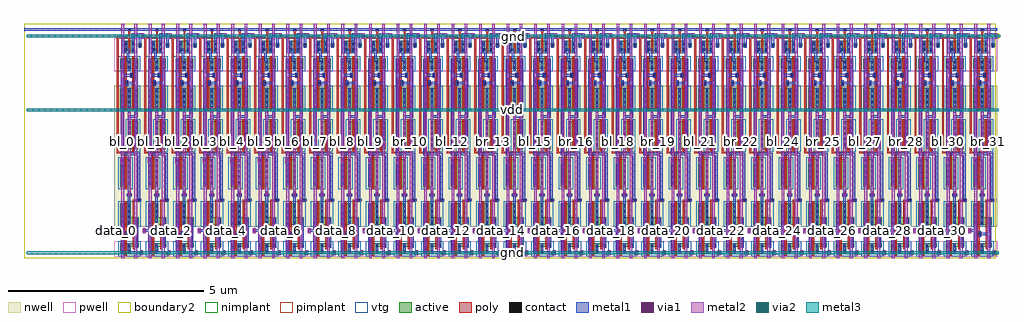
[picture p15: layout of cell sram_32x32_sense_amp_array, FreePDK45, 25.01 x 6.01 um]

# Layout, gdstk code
import gdstk
lib = gdstk.Library(unit=1e-6, precision=5e-10)
def R(c, l, rs):  # rectangles x0, y0, x1, y1
    for r in rs: c.add(gdstk.rectangle(r[:2], r[2:], *l))
def A(c, l, x, y, w, h, nx, ny, dx, dy):  # array of equal rectangles
    R(c, l, [(x+i*dx, y+j*dy, x+i*dx+w, y+j*dy+h) for i in range(nx) for j in range(ny)])
def P(c, l, *ps):  # polygons
    for p in ps: c.add(gdstk.Polygon(p, *l))
active = (1, 0)
pwell = (2, 0)
nwell = (3, 0)
nimplant = (4, 0)
pimplant = (5, 0)
vtg = (6, 0)
poly = (9, 0)
contact = (10, 0)
metal1 = (11, 0)
via1 = (12, 0)
metal2 = (13, 0)
via2 = (14, 0)
metal3 = (15, 0)
boundary2 = (239, 0)

sense_amp = lib.new_cell('sense_amp')
R(sense_amp, active, [(0.595,0.095,0.685,0.185), (0.3075,1.58,0.3975,1.67), (0.1275,1.82,0.3875,2.54), (0.1275,1.82,0.2025,2.54), (0.1275,1.82,0.2025,2.54), (0.3125,1.82,0.3875,2.54), (0.3125,1.82,0.3875,2.54), (0.1275,1.905,0.2025,2.54), (0.3125,1.905,0.3875,2.54), (0.3175,2.79,0.5775,3.51), (0.3175,2.79,0.3925,3.51), (0.3175,2.79,0.3925,3.51), (0.5025,2.79,0.5775,3.51), (0.5025,2.79,0.5775,3.51), (0.3175,2.875,0.3925,3.51), (0.5025,2.875,0.5775,3.51), (0.1275,3.8275,0.2025,4.3225), (0.1275,3.8275,0.3875,4.3675), (0.1275,3.8275,0.2025,4.3675), (0.1275,3.8275,0.2025,4.3675), (0.3125,3.8275,0.3875,4.3225), (0.3125,3.8275,0.3875,4.3675), (0.3125,3.8275,0.3875,4.3675), (0.3175,3.8275,0.3925,4.3225), (0.3175,3.8275,0.5775,4.3675), (0.3175,3.8275,0.3925,4.3675), (0.3175,3.8275,0.3925,4.3675), (0.5025,3.8275,0.5775,4.3225), (0.5025,3.8275,0.5775,4.3675), (0.5025,3.8275,0.5775,4.3675), (0.1275,4.8525,0.2025,5.0675), (0.1275,4.8525,0.3875,5.1225), (0.1275,4.8525,0.2025,5.1225), (0.1275,4.8525,0.2025,5.1225), (0.3125,4.8525,0.3875,5.0675), (0.3125,4.8525,0.3875,5.1225), (0.3125,4.8525,0.3875,5.1225), (0.3175,4.8525,0.3925,5.0675), (0.3175,4.8525,0.5775,5.1225), (0.3175,4.8525,0.3925,5.1225), (0.3175,4.8525,0.3925,5.1225), (0.5025,4.8525,0.5775,5.0675), (0.5025,4.8525,0.5775,5.1225), (0.5025,4.8525,0.5775,5.1225), (0.2275,5.31,0.3025,5.525), (0.2275,5.31,0.4875,5.58), (0.2275,5.31,0.3025,5.58), (0.2275,5.31,0.3025,5.58), (0.4125,5.31,0.4875,5.525), (0.4125,5.31,0.4875,5.58), (0.4125,5.31,0.4875,5.58), (0.58,5.42,0.67,5.51)])
P(sense_amp, active, [(0.1275,0.11),(0.1275,0.38),(0.5925,0.38),(0.5925,0.29),(0.3875,0.29),(0.3875,0.11)],
  [(0.1275,0.865),(0.1275,1.405),(0.3875,1.405),(0.3875,1.045),(0.5925,1.045),(0.5925,0.865)])
R(sense_amp, pwell, [(-0.035,0.055,0.74,0.435), (-0.035,4.7975,0.74,5.635), (0.0725,4.7975,0.4425,5.1775), (0.2625,4.7975,0.6325,5.1775), (0.1725,5.255,0.5425,5.635), (0.525,5.365,0.725,5.565)])
P(sense_amp, pwell, [(-0.035,0.04),(-0.035,0.055),(0.595,0.055),(0.595,0.095),(0.685,0.095),(0.685,0.055),(0.74,0.055),(0.74,0.04)])
R(sense_amp, nwell, [(-0.035,0.81,0.74,4.4225), (0.0725,1.765,0.4425,2.595), (0.2625,2.735,0.6325,3.565), (0.0725,3.7725,0.4425,4.4225), (0.2625,3.7725,0.6325,4.4225)])
R(sense_amp, nimplant, [(0.3075,1.58,0.3975,1.67), (0.1275,4.8525,0.3875,5.1225), (0.3175,4.8525,0.5775,5.1225), (0.2275,5.31,0.4875,5.58)])
P(sense_amp, nimplant, [(0.1275,0.11),(0.1275,0.38),(0.5925,0.38),(0.5925,0.29),(0.3875,0.29),(0.3875,0.11)])
R(sense_amp, pimplant, [(0.595,0.095,0.685,0.185), (0.1275,1.82,0.3875,2.54), (0.3175,2.79,0.5775,3.51), (0.1275,3.8275,0.3875,4.3675), (0.3175,3.8275,0.5775,4.3675), (0.58,5.42,0.67,5.51)])
P(sense_amp, pimplant, [(0.1275,0.865),(0.1275,1.405),(0.3875,1.405),(0.3875,1.045),(0.5925,1.045),(0.5925,0.865)])
R(sense_amp, vtg, [(0.0725,0.055,0.6475,0.435), (0.0725,0.81,0.645,1.46), (0.0725,1.765,0.4425,2.595), (0.2625,2.735,0.6325,3.565), (0.0725,3.7725,0.4425,4.4225), (0.2625,3.7725,0.6325,4.4225), (0.0725,4.7975,0.4425,5.1775), (0.2625,4.7975,0.6325,5.1775), (0.1725,5.255,0.5425,5.635)])
R(sense_amp, poly, [(0.2325,0.055,0.2825,1.46), (0.2575,0.585,0.3325,0.66), (0.2325,1.765,0.2825,1.82), (0.2325,1.765,0.2825,2.595), (0.2325,2.54,0.2825,2.595), (0.2325,2.595,0.2825,2.685), (0.0275,2.685,0.4725,2.735), (0.0275,2.735,0.0775,5.635), (0.4225,2.735,0.4725,2.79), (0.4225,2.735,0.4725,3.565), (0.4225,3.51,0.4725,3.565), (0.2325,3.7725,0.2825,3.8275), (0.2325,3.7725,0.2825,4.4225), (0.4225,3.7725,0.4725,3.8275), (0.4225,3.7725,0.4725,4.4225), (0.2325,4.04,0.2825,4.7975), (0.4225,4.04,0.4725,4.7975), (0.2325,4.3675,0.2825,4.4225), (0.4225,4.3675,0.4725,4.4225), (0.2575,4.4525,0.3325,4.5275), (0.3725,4.6525,0.4475,4.7275), (0.2325,4.7975,0.2825,4.8525), (0.2325,4.7975,0.2825,5.1775), (0.4225,4.7975,0.4725,4.8525), (0.4225,4.7975,0.4725,5.1775), (0.2325,5.1225,0.2825,5.1775), (0.4225,5.1225,0.4725,5.1775), (0.3325,5.255,0.3825,5.31), (0.3325,5.255,0.3825,5.635), (0.3325,5.58,0.3825,5.635), (0.0275,5.635,0.3825,5.685), (0.3325,5.685,0.3825,5.89), (0.32,5.8225,0.395,5.8975)])
P(sense_amp, poly, [(0.4375,0.235),(0.4375,1.505),(0.56,1.505),(0.56,1.525),(0.635,1.525),(0.635,1.45),(0.4875,1.45),(0.4875,0.235)])
A(sense_amp, contact, 0.1325, 0.8875, 0.065, 0.065, 1, 4, 0, 0.14)
A(sense_amp, contact, 0.3175, 0.8875, 0.065, 0.065, 1, 4, 0, 0.14)
A(sense_amp, contact, 0.1325, 1.91, 0.065, 0.065, 1, 5, 0, 0.14)
A(sense_amp, contact, 0.3175, 1.91, 0.065, 0.065, 1, 5, 0, 0.14)
A(sense_amp, contact, 0.3225, 2.88, 0.065, 0.065, 1, 5, 0, 0.14)
A(sense_amp, contact, 0.5075, 2.88, 0.065, 0.065, 1, 5, 0, 0.14)
A(sense_amp, contact, 0.1325, 3.8325, 0.065, 0.065, 1, 4, 0, 0.14)
A(sense_amp, contact, 0.3225, 3.8325, 0.065, 0.065, 1, 4, 0, 0.14)
A(sense_amp, contact, 0.5075, 3.8325, 0.065, 0.065, 1, 4, 0, 0.14)
R(sense_amp, contact, [(0.61,0.1075,0.675,0.1725), (0.1325,0.1425,0.1975,0.2075), (0.3175,0.1425,0.3825,0.2075), (0.1325,0.2825,0.1975,0.3475), (0.3175,0.2825,0.3825,0.3475), (0.5225,0.3,0.5875,0.365), (0.2625,0.59,0.3275,0.655), (0.5225,0.92,0.5875,0.985), (0.565,1.455,0.63,1.52), (0.32,1.5925,0.385,1.6575), (0.2625,4.4575,0.3275,4.5225), (0.3775,4.6575,0.4425,4.7225), (0.1325,4.8575,0.1975,4.9225), (0.3225,4.8575,0.3875,4.9225), (0.5075,4.8575,0.5725,4.9225), (0.1325,4.9975,0.1975,5.0625), (0.3225,4.9975,0.3875,5.0625), (0.5075,4.9975,0.5725,5.0625), (0.2325,5.315,0.2975,5.38), (0.4175,5.315,0.4825,5.38), (0.5925,5.4325,0.6575,5.4975), (0.2325,5.455,0.2975,5.52), (0.4175,5.455,0.4825,5.52), (0.325,5.8275,0.39,5.8925)])
R(sense_amp, metal1, [(0.1325,0.1075,0.1975,1.4075), (0.3175,0.1075,0.3825,0.3825), (0.3825,0.1075,0.5675,0.1725), (0.5225,0.265,0.5875,0.3), (0.2625,0.555,0.3275,0.69), (-0.0025,0.64,0.0625,0.775), (-0.0075,0.67,0.0675,0.745), (0.0675,0.675,0.1325,0.74), (0.3175,0.8525,0.3825,0.8875), (0.3175,0.8875,0.3825,1.6575), (0.5225,0.985,0.5875,1.02), (0.53,1.455,0.665,1.52), (0.565,1.455,0.63,2.7), (0.285,1.5925,0.42,1.6575), (0.32,1.5925,0.385,1.7275), (0.1325,1.875,0.1975,2.57), (0.3175,1.875,0.3825,2.57), (0.1275,2.435,0.1925,2.57), (0.32,2.5025,0.385,2.7), (0.1325,2.635,0.63,2.7), (0.1325,2.7,0.1975,3.7975), (0.3225,2.845,0.3875,3.54), (0.5075,2.845,0.5725,3.54), (0.51,2.845,0.575,2.98), (0.3225,3.475,0.3875,3.67), (0.3225,3.605,0.5725,3.67), (0.5075,3.605,0.5725,3.8), (0.32,3.735,0.385,3.87), (0.1325,3.7975,0.1975,4.3525), (0.3175,3.7975,0.3825,4.3525), (0.3225,3.7975,0.3875,4.3525), (0.5075,3.7975,0.5725,4.3525), (0.1325,3.96,0.1975,4.8275), (0.5075,3.96,0.5725,4.8225), (0.2625,4.4225,0.3275,4.5575), (0.2825,4.4575,0.5725,4.5225), (0.3775,4.6225,0.4425,4.7575), (0.1325,4.6575,0.4225,4.7225), (0.1325,4.8225,0.1975,5.0975), (0.3175,4.8225,0.3825,5.0975), (0.3225,4.8225,0.3875,5.0975), (0.5075,4.8225,0.5725,5.0975), (0.2825,5.04,0.3525,5.3675), (0.2325,5.28,0.2975,5.555), (0.4175,5.28,0.4825,5.555), (0.5925,5.3975,0.6575,5.5325), (0.5925,5.5325,0.6575,5.7625), (0.4175,5.545,0.4825,5.6975), (0.6575,5.6275,0.6725,5.6975), (0.6725,5.6275,0.7375,5.7625), (0.4175,5.6975,0.74,5.7625), (-0.035,5.8275,0.74,5.8925), (-0.035,5.8275,0.74,5.8925), (0.23,5.8275,0.295,5.8925), (0.29,5.8275,0.425,5.8925)])
P(sense_amp, metal1, [(0.5225,0.3),(0.5225,0.59),(0.2625,0.59),(0.2625,0.655),(0.5225,0.655),(0.5225,0.985),(0.5875,0.985),(0.5875,0.3)],
  [(0.6325,0.0725),(0.6325,0.1075),(0.5675,0.1075),(0.5675,0.1725),(0.6325,0.1725),(0.6325,0.2075),(0.6975,0.2075),(0.6975,0.1725),(0.71,0.1725),(0.71,0.1075),(0.6975,0.1075),(0.6975,0.0725)],
  [(0,1.4525),(0,1.4525),(0,1.4525),(0,1.4525)])
R(sense_amp, via1, [(0.6325,0.1075,0.6975,0.1725), (-0.0025,0.675,0.0625,0.74), (0.32,1.6275,0.385,1.6925), (0.1275,2.47,0.1925,2.535), (0.51,2.88,0.575,2.945), (0.32,3.77,0.385,3.835), (0.6725,5.6625,0.7375,5.7275)])
R(sense_amp, metal2, [(0.15,0,0.22,6.01), (0.15,0,0.22,6.01), (0.485,0,0.555,6.01), (0.485,0,0.555,6.01), (0.6275,0.0725,0.7025,0.2075), (0.6275,0.0725,0.7025,0.2075), (0.6275,0.1025,0.7025,0.1775), (-0.01,0.64,0.0675,0.775), (-0.01,0.64,0.0675,0.775), (-0.0075,0.67,0.0675,0.745), (0.3175,1.5925,0.3875,1.7275), (0.3175,1.725,0.3875,3.735), (0.125,2.435,0.195,2.57), (0.5075,2.845,0.5775,2.98), (0.3175,3.735,0.3875,3.87), (0.3175,3.735,0.3875,3.87), (0.67,5.6275,0.74,5.7625), (0.67,5.6275,0.74,5.7625)])
R(sense_amp, boundary2, [(0,0,0.705,6.01)])
sense_amp.add(gdstk.Label('en', (0.258,5.86), layer=11, texttype=0))
sense_amp.add(gdstk.Label('dout', (0.0285,0.6925), layer=13, texttype=0))
sense_amp.add(gdstk.Label('gnd', (0.6555,0.1235), layer=13, texttype=0))
sense_amp.add(gdstk.Label('bl', (0.19,0.005), layer=13, texttype=0))
sense_amp.add(gdstk.Label('br', (0.52,0.0065), layer=13, texttype=0))
sense_amp.add(gdstk.Label('vdd', (0.3525,3.8), layer=13, texttype=0))
sense_amp.add(gdstk.Label('gnd', (0.7025,5.735), layer=13, texttype=0))
sense_amp.add(gdstk.Label('bl', (0.185,3.005), layer=13, texttype=0))
sense_amp.add(gdstk.Label('br', (0.52,3.005), layer=13, texttype=0))
sense_amp.add(gdstk.Label('dout', (0.029,0.7075), layer=13, texttype=0))
sense_amp.add(gdstk.Label('en', (0.3525,5.86), layer=11, texttype=0))
sense_amp.add(gdstk.Label('vdd', (0.3525,3.8025), layer=13, texttype=0))
sense_amp.add(gdstk.Label('gnd', (0.665,0.14), layer=13, texttype=0))
sense_amp.add(gdstk.Label('gnd', (0.705,5.695), layer=13, texttype=0))

sram_32x32_contact_18 = lib.new_cell('sram_32x32_contact_18')
R(sram_32x32_contact_18, metal2, [(0.0325,0,0.1025,0.135)])
R(sram_32x32_contact_18, via2, [(0.035,0.035,0.1,0.1)])
R(sram_32x32_contact_18, metal3, [(0,0.0325,0.135,0.1025)])
R(sram_32x32_contact_18, boundary2, [(0,0,0.135,0.135)])

sram_32x32_sense_amp_arr = lib.new_cell('sram_32x32_sense_amp_array')
A(sram_32x32_sense_amp_arr, metal1, 2.665, 5.8275, 0.065, 0.065, 32, 1, 0.705, 0)
R(sram_32x32_sense_amp_arr, metal1, [(0,5.8275,24.905,5.8925)])
A(sram_32x32_sense_amp_arr, metal2, 2.335, 0.64, 0.0775, 0.135, 32, 1, 0.705, 0)
R(sram_32x32_sense_amp_arr, metal2, [(2.495,0,2.565,6.01), (2.83,0,2.9,6.01), (3.2,0,3.27,6.01), (3.535,0,3.605,6.01), (3.905,0,3.975,6.01), (4.24,0,4.31,6.01), (4.61,0,4.68,6.01), (4.945,0,5.015,6.01), (5.315,0,5.385,6.01), (5.65,0,5.72,6.01), (6.02,0,6.09,6.01), (6.355,0,6.425,6.01), (6.725,0,6.795,6.01), (7.06,0,7.13,6.01), (7.43,0,7.5,6.01), (7.765,0,7.835,6.01), (8.135,0,8.205,6.01), (8.47,0,8.54,6.01), (8.84,0,8.91,6.01), (9.175,0,9.245,6.01), (9.545,0,9.615,6.01), (9.88,0,9.95,6.01), (10.25,0,10.32,6.01), (10.585,0,10.655,6.01), (10.955,0,11.025,6.01), (11.29,0,11.36,6.01), (11.66,0,11.73,6.01), (11.995,0,12.065,6.01), (12.365,0,12.435,6.01), (12.7,0,12.77,6.01), (13.07,0,13.14,6.01), (13.405,0,13.475,6.01), (13.775,0,13.845,6.01), (14.11,0,14.18,6.01), (14.48,0,14.55,6.01), (14.815,0,14.885,6.01), (15.185,0,15.255,6.01), (15.52,0,15.59,6.01), (15.89,0,15.96,6.01), (16.225,0,16.295,6.01), (16.595,0,16.665,6.01), (16.93,0,17,6.01), (17.3,0,17.37,6.01), (17.635,0,17.705,6.01), (18.005,0,18.075,6.01), (18.34,0,18.41,6.01), (18.71,0,18.78,6.01), (19.045,0,19.115,6.01), (19.415,0,19.485,6.01), (19.75,0,19.82,6.01), (20.12,0,20.19,6.01), (20.455,0,20.525,6.01), (20.825,0,20.895,6.01), (21.16,0,21.23,6.01), (21.53,0,21.6,6.01), (21.865,0,21.935,6.01), (22.235,0,22.305,6.01), (22.57,0,22.64,6.01), (22.94,0,23.01,6.01), (23.275,0,23.345,6.01), (23.645,0,23.715,6.01), (23.98,0,24.05,6.01), (24.35,0,24.42,6.01), (24.685,0,24.755,6.01)])
R(sram_32x32_sense_amp_arr, metal3, [(0.0675,0.105,24.9725,0.175), (0.0675,3.7675,24.9725,3.8375), (0.0675,5.66,25.0075,5.73)])
R(sram_32x32_sense_amp_arr, boundary2, [(0,0,24.905,6.01)])
sram_32x32_sense_amp_arr.add(gdstk.Reference(sense_amp, (2.345,0)))
sram_32x32_sense_amp_arr.add(gdstk.Reference(sense_amp, (3.05,0)))
sram_32x32_sense_amp_arr.add(gdstk.Reference(sense_amp, (3.755,0)))
sram_32x32_sense_amp_arr.add(gdstk.Reference(sense_amp, (4.46,0)))
sram_32x32_sense_amp_arr.add(gdstk.Reference(sense_amp, (5.165,0)))
sram_32x32_sense_amp_arr.add(gdstk.Reference(sense_amp, (5.87,0)))
sram_32x32_sense_amp_arr.add(gdstk.Reference(sense_amp, (6.575,0)))
sram_32x32_sense_amp_arr.add(gdstk.Reference(sense_amp, (7.28,0)))
sram_32x32_sense_amp_arr.add(gdstk.Reference(sense_amp, (7.985,0)))
sram_32x32_sense_amp_arr.add(gdstk.Reference(sense_amp, (8.69,0)))
sram_32x32_sense_amp_arr.add(gdstk.Reference(sense_amp, (9.395,0)))
sram_32x32_sense_amp_arr.add(gdstk.Reference(sense_amp, (10.1,0)))
sram_32x32_sense_amp_arr.add(gdstk.Reference(sense_amp, (10.805,0)))
sram_32x32_sense_amp_arr.add(gdstk.Reference(sense_amp, (11.51,0)))
sram_32x32_sense_amp_arr.add(gdstk.Reference(sense_amp, (12.215,0)))
sram_32x32_sense_amp_arr.add(gdstk.Reference(sense_amp, (12.92,0)))
sram_32x32_sense_amp_arr.add(gdstk.Reference(sense_amp, (13.625,0)))
sram_32x32_sense_amp_arr.add(gdstk.Reference(sense_amp, (14.33,0)))
sram_32x32_sense_amp_arr.add(gdstk.Reference(sense_amp, (15.035,0)))
sram_32x32_sense_amp_arr.add(gdstk.Reference(sense_amp, (15.74,0)))
sram_32x32_sense_amp_arr.add(gdstk.Reference(sense_amp, (16.445,0)))
sram_32x32_sense_amp_arr.add(gdstk.Reference(sense_amp, (17.15,0)))
sram_32x32_sense_amp_arr.add(gdstk.Reference(sense_amp, (17.855,0)))
sram_32x32_sense_amp_arr.add(gdstk.Reference(sense_amp, (18.56,0)))
sram_32x32_sense_amp_arr.add(gdstk.Reference(sense_amp, (19.265,0)))
sram_32x32_sense_amp_arr.add(gdstk.Reference(sense_amp, (19.97,0)))
sram_32x32_sense_amp_arr.add(gdstk.Reference(sense_amp, (20.675,0)))
sram_32x32_sense_amp_arr.add(gdstk.Reference(sense_amp, (21.38,0)))
sram_32x32_sense_amp_arr.add(gdstk.Reference(sense_amp, (22.085,0)))
sram_32x32_sense_amp_arr.add(gdstk.Reference(sense_amp, (22.79,0)))
sram_32x32_sense_amp_arr.add(gdstk.Reference(sense_amp, (23.495,0)))
sram_32x32_sense_amp_arr.add(gdstk.Reference(sense_amp, (24.2,0)))
sram_32x32_sense_amp_arr.add(gdstk.Reference(sram_32x32_contact_18, (2.63,3.735)))
sram_32x32_sense_amp_arr.add(gdstk.Reference(sram_32x32_contact_18, (3.335,3.735)))
sram_32x32_sense_amp_arr.add(gdstk.Reference(sram_32x32_contact_18, (4.04,3.735)))
sram_32x32_sense_amp_arr.add(gdstk.Reference(sram_32x32_contact_18, (4.745,3.735)))
sram_32x32_sense_amp_arr.add(gdstk.Reference(sram_32x32_contact_18, (5.45,3.735)))
sram_32x32_sense_amp_arr.add(gdstk.Reference(sram_32x32_contact_18, (6.155,3.735)))
sram_32x32_sense_amp_arr.add(gdstk.Reference(sram_32x32_contact_18, (6.86,3.735)))
sram_32x32_sense_amp_arr.add(gdstk.Reference(sram_32x32_contact_18, (7.565,3.735)))
sram_32x32_sense_amp_arr.add(gdstk.Reference(sram_32x32_contact_18, (8.27,3.735)))
sram_32x32_sense_amp_arr.add(gdstk.Reference(sram_32x32_contact_18, (8.975,3.735)))
sram_32x32_sense_amp_arr.add(gdstk.Reference(sram_32x32_contact_18, (9.68,3.735)))
sram_32x32_sense_amp_arr.add(gdstk.Reference(sram_32x32_contact_18, (10.385,3.735)))
sram_32x32_sense_amp_arr.add(gdstk.Reference(sram_32x32_contact_18, (11.09,3.735)))
sram_32x32_sense_amp_arr.add(gdstk.Reference(sram_32x32_contact_18, (11.795,3.735)))
sram_32x32_sense_amp_arr.add(gdstk.Reference(sram_32x32_contact_18, (12.5,3.735)))
sram_32x32_sense_amp_arr.add(gdstk.Reference(sram_32x32_contact_18, (13.205,3.735)))
sram_32x32_sense_amp_arr.add(gdstk.Reference(sram_32x32_contact_18, (13.91,3.735)))
sram_32x32_sense_amp_arr.add(gdstk.Reference(sram_32x32_contact_18, (14.615,3.735)))
sram_32x32_sense_amp_arr.add(gdstk.Reference(sram_32x32_contact_18, (15.32,3.735)))
sram_32x32_sense_amp_arr.add(gdstk.Reference(sram_32x32_contact_18, (16.025,3.735)))
sram_32x32_sense_amp_arr.add(gdstk.Reference(sram_32x32_contact_18, (16.73,3.735)))
sram_32x32_sense_amp_arr.add(gdstk.Reference(sram_32x32_contact_18, (17.435,3.735)))
sram_32x32_sense_amp_arr.add(gdstk.Reference(sram_32x32_contact_18, (18.14,3.735)))
sram_32x32_sense_amp_arr.add(gdstk.Reference(sram_32x32_contact_18, (18.845,3.735)))
sram_32x32_sense_amp_arr.add(gdstk.Reference(sram_32x32_contact_18, (19.55,3.735)))
sram_32x32_sense_amp_arr.add(gdstk.Reference(sram_32x32_contact_18, (20.255,3.735)))
sram_32x32_sense_amp_arr.add(gdstk.Reference(sram_32x32_contact_18, (20.96,3.735)))
sram_32x32_sense_amp_arr.add(gdstk.Reference(sram_32x32_contact_18, (21.665,3.735)))
sram_32x32_sense_amp_arr.add(gdstk.Reference(sram_32x32_contact_18, (22.37,3.735)))
sram_32x32_sense_amp_arr.add(gdstk.Reference(sram_32x32_contact_18, (23.075,3.735)))
sram_32x32_sense_amp_arr.add(gdstk.Reference(sram_32x32_contact_18, (23.78,3.735)))
sram_32x32_sense_amp_arr.add(gdstk.Reference(sram_32x32_contact_18, (24.485,3.735)))
sram_32x32_sense_amp_arr.add(gdstk.Reference(sram_32x32_contact_18, (2.9425,0.0725)))
sram_32x32_sense_amp_arr.add(gdstk.Reference(sram_32x32_contact_18, (3.6475,0.0725)))
sram_32x32_sense_amp_arr.add(gdstk.Reference(sram_32x32_contact_18, (4.3525,0.0725)))
sram_32x32_sense_amp_arr.add(gdstk.Reference(sram_32x32_contact_18, (5.0575,0.0725)))
sram_32x32_sense_amp_arr.add(gdstk.Reference(sram_32x32_contact_18, (5.7625,0.0725)))
sram_32x32_sense_amp_arr.add(gdstk.Reference(sram_32x32_contact_18, (6.4675,0.0725)))
sram_32x32_sense_amp_arr.add(gdstk.Reference(sram_32x32_contact_18, (7.1725,0.0725)))
sram_32x32_sense_amp_arr.add(gdstk.Reference(sram_32x32_contact_18, (7.8775,0.0725)))
sram_32x32_sense_amp_arr.add(gdstk.Reference(sram_32x32_contact_18, (8.5825,0.0725)))
sram_32x32_sense_amp_arr.add(gdstk.Reference(sram_32x32_contact_18, (9.2875,0.0725)))
sram_32x32_sense_amp_arr.add(gdstk.Reference(sram_32x32_contact_18, (9.9925,0.0725)))
sram_32x32_sense_amp_arr.add(gdstk.Reference(sram_32x32_contact_18, (10.6975,0.0725)))
sram_32x32_sense_amp_arr.add(gdstk.Reference(sram_32x32_contact_18, (11.4025,0.0725)))
sram_32x32_sense_amp_arr.add(gdstk.Reference(sram_32x32_contact_18, (12.1075,0.0725)))
sram_32x32_sense_amp_arr.add(gdstk.Reference(sram_32x32_contact_18, (12.8125,0.0725)))
sram_32x32_sense_amp_arr.add(gdstk.Reference(sram_32x32_contact_18, (13.5175,0.0725)))
sram_32x32_sense_amp_arr.add(gdstk.Reference(sram_32x32_contact_18, (14.2225,0.0725)))
sram_32x32_sense_amp_arr.add(gdstk.Reference(sram_32x32_contact_18, (14.9275,0.0725)))
sram_32x32_sense_amp_arr.add(gdstk.Reference(sram_32x32_contact_18, (15.6325,0.0725)))
sram_32x32_sense_amp_arr.add(gdstk.Reference(sram_32x32_contact_18, (16.3375,0.0725)))
sram_32x32_sense_amp_arr.add(gdstk.Reference(sram_32x32_contact_18, (17.0425,0.0725)))
sram_32x32_sense_amp_arr.add(gdstk.Reference(sram_32x32_contact_18, (17.7475,0.0725)))
sram_32x32_sense_amp_arr.add(gdstk.Reference(sram_32x32_contact_18, (18.4525,0.0725)))
sram_32x32_sense_amp_arr.add(gdstk.Reference(sram_32x32_contact_18, (19.1575,0.0725)))
sram_32x32_sense_amp_arr.add(gdstk.Reference(sram_32x32_contact_18, (19.8625,0.0725)))
sram_32x32_sense_amp_arr.add(gdstk.Reference(sram_32x32_contact_18, (20.5675,0.0725)))
sram_32x32_sense_amp_arr.add(gdstk.Reference(sram_32x32_contact_18, (21.2725,0.0725)))
sram_32x32_sense_amp_arr.add(gdstk.Reference(sram_32x32_contact_18, (21.9775,0.0725)))
sram_32x32_sense_amp_arr.add(gdstk.Reference(sram_32x32_contact_18, (22.6825,0.0725)))
sram_32x32_sense_amp_arr.add(gdstk.Reference(sram_32x32_contact_18, (23.3875,0.0725)))
sram_32x32_sense_amp_arr.add(gdstk.Reference(sram_32x32_contact_18, (24.0925,0.0725)))
sram_32x32_sense_amp_arr.add(gdstk.Reference(sram_32x32_contact_18, (24.7975,0.0725)))
sram_32x32_sense_amp_arr.add(gdstk.Reference(sram_32x32_contact_18, (2.9825,5.6275)))
sram_32x32_sense_amp_arr.add(gdstk.Reference(sram_32x32_contact_18, (3.6875,5.6275)))
sram_32x32_sense_amp_arr.add(gdstk.Reference(sram_32x32_contact_18, (4.3925,5.6275)))
sram_32x32_sense_amp_arr.add(gdstk.Reference(sram_32x32_contact_18, (5.0975,5.6275)))
sram_32x32_sense_amp_arr.add(gdstk.Reference(sram_32x32_contact_18, (5.8025,5.6275)))
sram_32x32_sense_amp_arr.add(gdstk.Reference(sram_32x32_contact_18, (6.5075,5.6275)))
sram_32x32_sense_amp_arr.add(gdstk.Reference(sram_32x32_contact_18, (7.2125,5.6275)))
sram_32x32_sense_amp_arr.add(gdstk.Reference(sram_32x32_contact_18, (7.9175,5.6275)))
sram_32x32_sense_amp_arr.add(gdstk.Reference(sram_32x32_contact_18, (8.6225,5.6275)))
sram_32x32_sense_amp_arr.add(gdstk.Reference(sram_32x32_contact_18, (9.3275,5.6275)))
sram_32x32_sense_amp_arr.add(gdstk.Reference(sram_32x32_contact_18, (10.0325,5.6275)))
sram_32x32_sense_amp_arr.add(gdstk.Reference(sram_32x32_contact_18, (10.7375,5.6275)))
sram_32x32_sense_amp_arr.add(gdstk.Reference(sram_32x32_contact_18, (11.4425,5.6275)))
sram_32x32_sense_amp_arr.add(gdstk.Reference(sram_32x32_contact_18, (12.1475,5.6275)))
sram_32x32_sense_amp_arr.add(gdstk.Reference(sram_32x32_contact_18, (12.8525,5.6275)))
sram_32x32_sense_amp_arr.add(gdstk.Reference(sram_32x32_contact_18, (13.5575,5.6275)))
sram_32x32_sense_amp_arr.add(gdstk.Reference(sram_32x32_contact_18, (14.2625,5.6275)))
sram_32x32_sense_amp_arr.add(gdstk.Reference(sram_32x32_contact_18, (14.9675,5.6275)))
sram_32x32_sense_amp_arr.add(gdstk.Reference(sram_32x32_contact_18, (15.6725,5.6275)))
sram_32x32_sense_amp_arr.add(gdstk.Reference(sram_32x32_contact_18, (16.3775,5.6275)))
sram_32x32_sense_amp_arr.add(gdstk.Reference(sram_32x32_contact_18, (17.0825,5.6275)))
sram_32x32_sense_amp_arr.add(gdstk.Reference(sram_32x32_contact_18, (17.7875,5.6275)))
sram_32x32_sense_amp_arr.add(gdstk.Reference(sram_32x32_contact_18, (18.4925,5.6275)))
sram_32x32_sense_amp_arr.add(gdstk.Reference(sram_32x32_contact_18, (19.1975,5.6275)))
sram_32x32_sense_amp_arr.add(gdstk.Reference(sram_32x32_contact_18, (19.9025,5.6275)))
sram_32x32_sense_amp_arr.add(gdstk.Reference(sram_32x32_contact_18, (20.6075,5.6275)))
sram_32x32_sense_amp_arr.add(gdstk.Reference(sram_32x32_contact_18, (21.3125,5.6275)))
sram_32x32_sense_amp_arr.add(gdstk.Reference(sram_32x32_contact_18, (22.0175,5.6275)))
sram_32x32_sense_amp_arr.add(gdstk.Reference(sram_32x32_contact_18, (22.7225,5.6275)))
sram_32x32_sense_amp_arr.add(gdstk.Reference(sram_32x32_contact_18, (23.4275,5.6275)))
sram_32x32_sense_amp_arr.add(gdstk.Reference(sram_32x32_contact_18, (24.1325,5.6275)))
sram_32x32_sense_amp_arr.add(gdstk.Reference(sram_32x32_contact_18, (24.8375,5.6275)))
sram_32x32_sense_amp_arr.add(gdstk.Label('bl_0', (2.53,3.005), layer=13, texttype=0))
sram_32x32_sense_amp_arr.add(gdstk.Label('br_0', (2.865,3.005), layer=13, texttype=0))
sram_32x32_sense_amp_arr.add(gdstk.Label('data_0', (2.374,0.7075), layer=13, texttype=0))
sram_32x32_sense_amp_arr.add(gdstk.Label('bl_1', (3.235,3.005), layer=13, texttype=0))
sram_32x32_sense_amp_arr.add(gdstk.Label('br_1', (3.57,3.005), layer=13, texttype=0))
sram_32x32_sense_amp_arr.add(gdstk.Label('data_1', (3.079,0.7075), layer=13, texttype=0))
sram_32x32_sense_amp_arr.add(gdstk.Label('bl_2', (3.94,3.005), layer=13, texttype=0))
sram_32x32_sense_amp_arr.add(gdstk.Label('br_2', (4.275,3.005), layer=13, texttype=0))
sram_32x32_sense_amp_arr.add(gdstk.Label('data_2', (3.784,0.7075), layer=13, texttype=0))
sram_32x32_sense_amp_arr.add(gdstk.Label('bl_3', (4.645,3.005), layer=13, texttype=0))
sram_32x32_sense_amp_arr.add(gdstk.Label('br_3', (4.98,3.005), layer=13, texttype=0))
sram_32x32_sense_amp_arr.add(gdstk.Label('data_3', (4.489,0.7075), layer=13, texttype=0))
sram_32x32_sense_amp_arr.add(gdstk.Label('bl_4', (5.35,3.005), layer=13, texttype=0))
sram_32x32_sense_amp_arr.add(gdstk.Label('br_4', (5.685,3.005), layer=13, texttype=0))
sram_32x32_sense_amp_arr.add(gdstk.Label('data_4', (5.194,0.7075), layer=13, texttype=0))
sram_32x32_sense_amp_arr.add(gdstk.Label('bl_5', (6.055,3.005), layer=13, texttype=0))
sram_32x32_sense_amp_arr.add(gdstk.Label('br_5', (6.39,3.005), layer=13, texttype=0))
sram_32x32_sense_amp_arr.add(gdstk.Label('data_5', (5.899,0.7075), layer=13, texttype=0))
sram_32x32_sense_amp_arr.add(gdstk.Label('bl_6', (6.76,3.005), layer=13, texttype=0))
sram_32x32_sense_amp_arr.add(gdstk.Label('br_6', (7.095,3.005), layer=13, texttype=0))
sram_32x32_sense_amp_arr.add(gdstk.Label('data_6', (6.604,0.7075), layer=13, texttype=0))
sram_32x32_sense_amp_arr.add(gdstk.Label('bl_7', (7.465,3.005), layer=13, texttype=0))
sram_32x32_sense_amp_arr.add(gdstk.Label('br_7', (7.8,3.005), layer=13, texttype=0))
sram_32x32_sense_amp_arr.add(gdstk.Label('data_7', (7.309,0.7075), layer=13, texttype=0))
sram_32x32_sense_amp_arr.add(gdstk.Label('bl_8', (8.17,3.005), layer=13, texttype=0))
sram_32x32_sense_amp_arr.add(gdstk.Label('br_8', (8.505,3.005), layer=13, texttype=0))
sram_32x32_sense_amp_arr.add(gdstk.Label('data_8', (8.014,0.7075), layer=13, texttype=0))
sram_32x32_sense_amp_arr.add(gdstk.Label('bl_9', (8.875,3.005), layer=13, texttype=0))
sram_32x32_sense_amp_arr.add(gdstk.Label('br_9', (9.21,3.005), layer=13, texttype=0))
sram_32x32_sense_amp_arr.add(gdstk.Label('data_9', (8.719,0.7075), layer=13, texttype=0))
sram_32x32_sense_amp_arr.add(gdstk.Label('bl_10', (9.58,3.005), layer=13, texttype=0))
sram_32x32_sense_amp_arr.add(gdstk.Label('br_10', (9.915,3.005), layer=13, texttype=0))
sram_32x32_sense_amp_arr.add(gdstk.Label('data_10', (9.424,0.7075), layer=13, texttype=0))
sram_32x32_sense_amp_arr.add(gdstk.Label('bl_11', (10.285,3.005), layer=13, texttype=0))
sram_32x32_sense_amp_arr.add(gdstk.Label('br_11', (10.62,3.005), layer=13, texttype=0))
sram_32x32_sense_amp_arr.add(gdstk.Label('data_11', (10.129,0.7075), layer=13, texttype=0))
sram_32x32_sense_amp_arr.add(gdstk.Label('bl_12', (10.99,3.005), layer=13, texttype=0))
sram_32x32_sense_amp_arr.add(gdstk.Label('br_12', (11.325,3.005), layer=13, texttype=0))
sram_32x32_sense_amp_arr.add(gdstk.Label('data_12', (10.834,0.7075), layer=13, texttype=0))
sram_32x32_sense_amp_arr.add(gdstk.Label('bl_13', (11.695,3.005), layer=13, texttype=0))
sram_32x32_sense_amp_arr.add(gdstk.Label('br_13', (12.03,3.005), layer=13, texttype=0))
sram_32x32_sense_amp_arr.add(gdstk.Label('data_13', (11.539,0.7075), layer=13, texttype=0))
sram_32x32_sense_amp_arr.add(gdstk.Label('bl_14', (12.4,3.005), layer=13, texttype=0))
sram_32x32_sense_amp_arr.add(gdstk.Label('br_14', (12.735,3.005), layer=13, texttype=0))
sram_32x32_sense_amp_arr.add(gdstk.Label('data_14', (12.244,0.7075), layer=13, texttype=0))
sram_32x32_sense_amp_arr.add(gdstk.Label('bl_15', (13.105,3.005), layer=13, texttype=0))
sram_32x32_sense_amp_arr.add(gdstk.Label('br_15', (13.44,3.005), layer=13, texttype=0))
sram_32x32_sense_amp_arr.add(gdstk.Label('data_15', (12.949,0.7075), layer=13, texttype=0))
sram_32x32_sense_amp_arr.add(gdstk.Label('bl_16', (13.81,3.005), layer=13, texttype=0))
sram_32x32_sense_amp_arr.add(gdstk.Label('br_16', (14.145,3.005), layer=13, texttype=0))
sram_32x32_sense_amp_arr.add(gdstk.Label('data_16', (13.654,0.7075), layer=13, texttype=0))
sram_32x32_sense_amp_arr.add(gdstk.Label('bl_17', (14.515,3.005), layer=13, texttype=0))
sram_32x32_sense_amp_arr.add(gdstk.Label('br_17', (14.85,3.005), layer=13, texttype=0))
sram_32x32_sense_amp_arr.add(gdstk.Label('data_17', (14.359,0.7075), layer=13, texttype=0))
sram_32x32_sense_amp_arr.add(gdstk.Label('bl_18', (15.22,3.005), layer=13, texttype=0))
sram_32x32_sense_amp_arr.add(gdstk.Label('br_18', (15.555,3.005), layer=13, texttype=0))
sram_32x32_sense_amp_arr.add(gdstk.Label('data_18', (15.064,0.7075), layer=13, texttype=0))
sram_32x32_sense_amp_arr.add(gdstk.Label('bl_19', (15.925,3.005), layer=13, texttype=0))
sram_32x32_sense_amp_arr.add(gdstk.Label('br_19', (16.26,3.005), layer=13, texttype=0))
sram_32x32_sense_amp_arr.add(gdstk.Label('data_19', (15.769,0.7075), layer=13, texttype=0))
sram_32x32_sense_amp_arr.add(gdstk.Label('bl_20', (16.63,3.005), layer=13, texttype=0))
sram_32x32_sense_amp_arr.add(gdstk.Label('br_20', (16.965,3.005), layer=13, texttype=0))
sram_32x32_sense_amp_arr.add(gdstk.Label('data_20', (16.474,0.7075), layer=13, texttype=0))
sram_32x32_sense_amp_arr.add(gdstk.Label('bl_21', (17.335,3.005), layer=13, texttype=0))
sram_32x32_sense_amp_arr.add(gdstk.Label('br_21', (17.67,3.005), layer=13, texttype=0))
sram_32x32_sense_amp_arr.add(gdstk.Label('data_21', (17.179,0.7075), layer=13, texttype=0))
sram_32x32_sense_amp_arr.add(gdstk.Label('bl_22', (18.04,3.005), layer=13, texttype=0))
sram_32x32_sense_amp_arr.add(gdstk.Label('br_22', (18.375,3.005), layer=13, texttype=0))
sram_32x32_sense_amp_arr.add(gdstk.Label('data_22', (17.884,0.7075), layer=13, texttype=0))
sram_32x32_sense_amp_arr.add(gdstk.Label('bl_23', (18.745,3.005), layer=13, texttype=0))
sram_32x32_sense_amp_arr.add(gdstk.Label('br_23', (19.08,3.005), layer=13, texttype=0))
sram_32x32_sense_amp_arr.add(gdstk.Label('data_23', (18.589,0.7075), layer=13, texttype=0))
sram_32x32_sense_amp_arr.add(gdstk.Label('bl_24', (19.45,3.005), layer=13, texttype=0))
sram_32x32_sense_amp_arr.add(gdstk.Label('br_24', (19.785,3.005), layer=13, texttype=0))
sram_32x32_sense_amp_arr.add(gdstk.Label('data_24', (19.294,0.7075), layer=13, texttype=0))
sram_32x32_sense_amp_arr.add(gdstk.Label('bl_25', (20.155,3.005), layer=13, texttype=0))
sram_32x32_sense_amp_arr.add(gdstk.Label('br_25', (20.49,3.005), layer=13, texttype=0))
sram_32x32_sense_amp_arr.add(gdstk.Label('data_25', (19.999,0.7075), layer=13, texttype=0))
sram_32x32_sense_amp_arr.add(gdstk.Label('bl_26', (20.86,3.005), layer=13, texttype=0))
sram_32x32_sense_amp_arr.add(gdstk.Label('br_26', (21.195,3.005), layer=13, texttype=0))
sram_32x32_sense_amp_arr.add(gdstk.Label('data_26', (20.704,0.7075), layer=13, texttype=0))
sram_32x32_sense_amp_arr.add(gdstk.Label('bl_27', (21.565,3.005), layer=13, texttype=0))
sram_32x32_sense_amp_arr.add(gdstk.Label('br_27', (21.9,3.005), layer=13, texttype=0))
sram_32x32_sense_amp_arr.add(gdstk.Label('data_27', (21.409,0.7075), layer=13, texttype=0))
sram_32x32_sense_amp_arr.add(gdstk.Label('bl_28', (22.27,3.005), layer=13, texttype=0))
sram_32x32_sense_amp_arr.add(gdstk.Label('br_28', (22.605,3.005), layer=13, texttype=0))
sram_32x32_sense_amp_arr.add(gdstk.Label('data_28', (22.114,0.7075), layer=13, texttype=0))
sram_32x32_sense_amp_arr.add(gdstk.Label('bl_29', (22.975,3.005), layer=13, texttype=0))
sram_32x32_sense_amp_arr.add(gdstk.Label('br_29', (23.31,3.005), layer=13, texttype=0))
sram_32x32_sense_amp_arr.add(gdstk.Label('data_29', (22.819,0.7075), layer=13, texttype=0))
sram_32x32_sense_amp_arr.add(gdstk.Label('bl_30', (23.68,3.005), layer=13, texttype=0))
sram_32x32_sense_amp_arr.add(gdstk.Label('br_30', (24.015,3.005), layer=13, texttype=0))
sram_32x32_sense_amp_arr.add(gdstk.Label('data_30', (23.524,0.7075), layer=13, texttype=0))
sram_32x32_sense_amp_arr.add(gdstk.Label('bl_31', (24.385,3.005), layer=13, texttype=0))
sram_32x32_sense_amp_arr.add(gdstk.Label('br_31', (24.72,3.005), layer=13, texttype=0))
sram_32x32_sense_amp_arr.add(gdstk.Label('data_31', (24.229,0.7075), layer=13, texttype=0))
sram_32x32_sense_amp_arr.add(gdstk.Label('vdd', (12.52,3.8025), layer=15, texttype=0))
sram_32x32_sense_amp_arr.add(gdstk.Label('gnd', (12.52,0.14), layer=15, texttype=0))
sram_32x32_sense_amp_arr.add(gdstk.Label('gnd', (12.5375,5.695), layer=15, texttype=0))
sram_32x32_sense_amp_arr.add(gdstk.Label('en', (12.4525,5.86), layer=11, texttype=0))

lib.write_gds('sram_32x32_sense_amp_array.gds')
